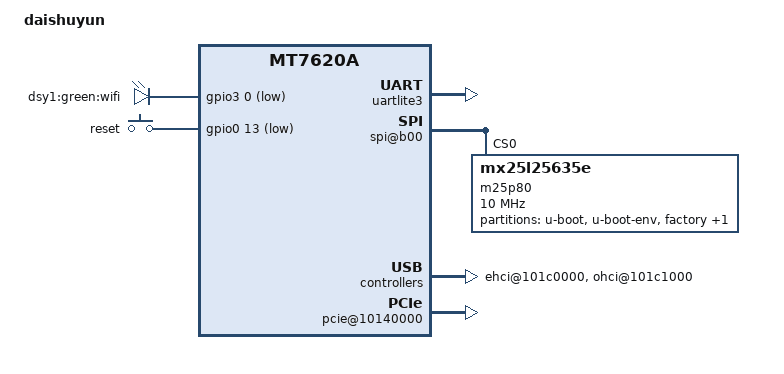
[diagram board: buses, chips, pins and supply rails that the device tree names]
/dts-v1/;

/include/ "mt7620a.dtsi"

/ {
	compatible = "DAISHUYUN", "ralink,mt7620a-soc";
	model = "daishuyun";

	chosen {
		bootargs = "console=ttyS0,115200";
	};

	uartlite3 {
		status = "okay";
	};

	palmbus@10000000 {

		gpio0: gpio@600 {
			status = "okay";
		};

		gpio1: gpio@638 {
			status = "okay";
		};

		gpio2: gpio@660 {
			status = "okay";
		};

		gpio3: gpio@688 {
			status = "okay";
		};

		spi@b00 {
			status = "okay";

			m25p80@0 {
				#address-cells = <1>;
				#size-cells = <1>;
				compatible = "mx25l25635e";
				reg = <0 0>;
				linux,modalias = "m25p80", "mx25l25635e";
				spi-max-frequency = <10000000>;

				partition@0 {
					label = "u-boot";
					reg = <0x0 0x30000>;
				};

				partition@30000 {
					label = "u-boot-env";
					reg = <0x30000 0x10000>;
				};

				factory: partition@40000 {
					label = "factory";
					reg = <0x40000 0x10000>;
				};

				partition@50000 {
					label = "firmware";
					reg = <0x50000 0x1fb0000>;
				};
			};
		};
	};

	ehci@101c0000 {
		status = "okay";
	};

	ohci@101c1000 {
		status = "okay";
	};

	ethernet@10100000 {
		pinctrl-names = "default";
		pinctrl-0 = <&ephy_pins>;
		mtd-mac-address = <&factory 0x4>;
		ralink,port-map = "llllw";
	};

	wmac@10180000 {
		ralink,mtd-eeprom = <&factory 0>;
	};

	pcie@10140000 {
		status = "okay";

		pcie-bridge {
			mt76@0,0 {
				reg = <0x0000 0 0 0 0>;
				device_type = "pci";
				mediatek,mtd-eeprom = <&factory 0x8000>;
				ieee80211-freq-limit = <5000000 6000000>;
			};
		};
	};

	pinctrl {
		state_default: pinctrl0 {
			default {
				ralink,group = "i2c", "uartf", "rgmii1", "rgmii2", "ephy", "wled", "nd_sd";
				ralink,function = "gpio";
			};

			pa {
				ralink,group = "pa";
				ralink,function = "pa";
			};
		};
	};

	gpio-leds {
		compatible = "gpio-leds";
		led {
			label = "dsy1:green:wifi";
			gpios = <&gpio3 0 1>;
		};
	};

	gpio-keys-polled {
		compatible = "gpio-keys-polled";
		#address-cells = <1>;
		#size-cells = <0>;
		poll-interval = <20>;

		reset {
			label = "reset";
			gpios = <&gpio0 13 1>;
			linux,code = <0x198>;
		};
	};	
};
